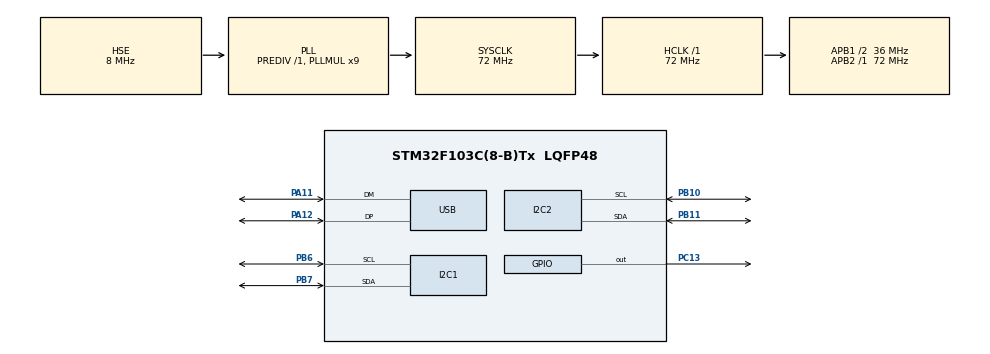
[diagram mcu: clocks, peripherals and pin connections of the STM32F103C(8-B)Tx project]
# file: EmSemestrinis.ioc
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Mcu.Family=STM32F1
Mcu.Name=STM32F103C(8-B)Tx
Mcu.Package=LQFP48
Mcu.UserConstants=MS_1,2;MS_100,200;PSC,36000
NVIC.PriorityGroup=NVIC_PRIORITYGROUP_4
NVIC.TIM2_IRQn=true\:0\:0\:false\:false\:true\:true\:true\:true
NVIC.USB_LP_CAN1_RX0_IRQn=true\:0\:0\:false\:false\:true\:false\:true\:true
PA11.Mode=Device
PA11.Signal=USB_DM
PA12.Mode=Device
PA12.Signal=USB_DP
PA13.Mode=Serial_Wire
PA13.Signal=SYS_JTMS-SWDIO
PA14.Mode=Serial_Wire
PA14.Signal=SYS_JTCK-SWCLK
PB10.Mode=I2C
PB10.Signal=I2C2_SCL
PB11.Mode=I2C
PB11.Signal=I2C2_SDA
PB6.Mode=I2C
PB6.Signal=I2C1_SCL
PB7.Mode=I2C
PB7.Signal=I2C1_SDA
PC13-TAMPER-RTC.Signal=GPIO_Output
PD0-OSC_IN.Mode=HSE-External-Oscillator
PD0-OSC_IN.Signal=RCC_OSC_IN
PD1-OSC_OUT.Mode=HSE-External-Oscillator
PD1-OSC_OUT.Signal=RCC_OSC_OUT
ProjectManager.HeapSize=0x200
ProjectManager.StackSize=0x400
ProjectManager.TargetToolchain=Makefile
RCC.AHBFreq_Value=72000000
RCC.APB1CLKDivider=RCC_HCLK_DIV2
RCC.APB1Freq_Value=36000000
RCC.APB1TimFreq_Value=72000000
RCC.APB2Freq_Value=72000000
RCC.APB2TimFreq_Value=72000000
RCC.HCLKFreq_Value=72000000
RCC.PLLMUL=RCC_PLL_MUL9
RCC.PLLSourceVirtual=RCC_PLLSOURCE_HSE
RCC.SYSCLKFreq_VALUE=72000000
RCC.SYSCLKSource=RCC_SYSCLKSOURCE_PLLCLK
RCC.USBFreq_Value=48000000
RCC.USBPrescaler=RCC_USBCLKSOURCE_PLL_DIV1_5
TIM2.Period=MS_100*2
TIM2.Prescaler=36000
USB_DEVICE.CLASS_NAME_FS=CDC
USB_DEVICE.VirtualMode=Cdc
USB_DEVICE.VirtualModeFS=Cdc_FS
VP_TIM2_VS_ClockSourceINT.Mode=Internal
VP_USB_DEVICE_VS_USB_DEVICE_CDC_FS.Mode=CDC_FS
board=custom

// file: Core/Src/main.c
/* USER CODE BEGIN Header */
/**
  ******************************************************************************
  * @file           : main.c
  * @brief          : Main program body
  ******************************************************************************
  * @attention
  *
  * Copyright (c) 2026 STMicroelectronics.
  * All rights reserved.
  *
  * This software is licensed under terms that can be found in the LICENSE file
  * in the root directory of this software component.
  * If no LICENSE file comes with this software, it is provided AS-IS.
  *
  ******************************************************************************
  */
/* USER CODE END Header */
#include "main.h"
#include "stm32f1xx_hal.h"
#include "usb_device.h"

/* USER CODE BEGIN Includes */
#include "device_config.h"
#include "Statechart.h"
#include "BMP180.h"
#include <stdint.h>
#include <stdbool.h>
#include <stdio.h>
#ifdef USE_USB
#include "usbd_cdc_if.h"
#endif
#ifdef USE_LCD
#include "i2c-lcd.h"
#endif
/* USER CODE END Includes */

I2C_HandleTypeDef hi2c1;
I2C_HandleTypeDef hi2c2;

TIM_HandleTypeDef htim2;

/* USER CODE BEGIN PV */
Statechart sc_handle;
static volatile bool tim2_it = false;
#ifdef USE_USB
static volatile bool usb_rx_new_data = false;
volatile uint8_t usb_rx_buff[1024];
volatile uint32_t usb_rx_len = 0;
uint8_t usb_tx_buff[1024];
uint32_t usb_tx_len = 0;
float usb_p_sum = 0;
#endif /* USE_USB */

#ifdef USE_LCD
char lcd_buff[100];
float lcd_p_sum = 0;
#endif /* USE_LCD */
/* USER CODE END PV */

void SystemClock_Config(void);
static void MX_GPIO_Init(void);
static void MX_I2C2_Init(void);
static void MX_TIM2_Init(void);
static void MX_I2C1_Init(void);

int main(void)
{

  /* MCU Configuration--------------------------------------------------------*/

  /* Reset of all peripherals, Initializes the Flash interface and the Systick. */
  HAL_Init();

  /* Configure the system clock */
  SystemClock_Config();

  /* Initialize all configured peripherals */
  MX_GPIO_Init();
  MX_I2C2_Init();
  MX_USB_DEVICE_Init();
  MX_TIM2_Init();
  MX_I2C1_Init();
  /* USER CODE BEGIN 2 */
  HAL_Delay(10);
  BMP180_Start();
  lcd_init();
  HAL_TIM_Base_Start_IT(&htim2);
  /* USER CODE END 2 */

  /* Infinite loop */
  /* USER CODE BEGIN WHILE */
  statechart_init(&sc_handle); // initialize state machine
  config_init();
  statechart_enter(&sc_handle); // run state machine
  while (1)
  {
    if(tim2_it) {
      tim2_it = false;
      statechart_raise_ev_timer_it(&sc_handle);
    }
    #ifdef USE_USB
    /* Check for new data in USB RX buffer */
    if(usb_rx_new_data && usb_rx_len > 0) {
      usb_rx_new_data = false;
      usb_rx_buff[usb_rx_len < 1024 ? usb_rx_len : 1023]='\0';
      status_t ret;
      /* Picking how to service the command */
      if(strncmp((char *)usb_rx_buff, "CONF_",5) == 0) {
        ret = execute_config_command((char *)usb_rx_buff);
      } else if(strncmp((char *)usb_rx_buff, "SAVE_CONFIG",11) == 0){
        HAL_GPIO_TogglePin(GPIOC, GPIO_PIN_13);
        ret = save_config();
      } else {
        ret = ERR_INV_COMMAND;
      }
      /* Sending error string in case of error */
      if(ret != STATUS_OK) {
          usb_tx_len = get_error_str(ret, (char *)usb_tx_buff);
          CDC_Transmit_FS(usb_tx_buff, usb_tx_len);
      }
    }
    #endif /* USE_USB */
    /* USER CODE END WHILE */

    /* USER CODE BEGIN 3 */
  }
  statechart_exit(&sc_handle);
  /* USER CODE END 3 */
}

void SystemClock_Config(void)
{
  RCC_OscInitTypeDef RCC_OscInitStruct = {0};
  RCC_ClkInitTypeDef RCC_ClkInitStruct = {0};
  RCC_PeriphCLKInitTypeDef PeriphClkInit = {0};

  /** Initializes the RCC Oscillators according to the specified parameters
  * in the RCC_OscInitTypeDef structure.
  */
  RCC_OscInitStruct.OscillatorType = RCC_OSCILLATORTYPE_HSE;
  RCC_OscInitStruct.HSEState = RCC_HSE_ON;
  RCC_OscInitStruct.HSEPredivValue = RCC_HSE_PREDIV_DIV1;
  RCC_OscInitStruct.HSIState = RCC_HSI_ON;
  RCC_OscInitStruct.PLL.PLLState = RCC_PLL_ON;
  RCC_OscInitStruct.PLL.PLLSource = RCC_PLLSOURCE_HSE;
  RCC_OscInitStruct.PLL.PLLMUL = RCC_PLL_MUL9;
  if (HAL_RCC_OscConfig(&RCC_OscInitStruct) != HAL_OK)
  {
    Error_Handler();
  }

  /** Initializes the CPU, AHB and APB buses clocks
  */
  RCC_ClkInitStruct.ClockType = RCC_CLOCKTYPE_HCLK|RCC_CLOCKTYPE_SYSCLK
                              |RCC_CLOCKTYPE_PCLK1|RCC_CLOCKTYPE_PCLK2;
  RCC_ClkInitStruct.SYSCLKSource = RCC_SYSCLKSOURCE_PLLCLK;
  RCC_ClkInitStruct.AHBCLKDivider = RCC_SYSCLK_DIV1;
  RCC_ClkInitStruct.APB1CLKDivider = RCC_HCLK_DIV2;
  RCC_ClkInitStruct.APB2CLKDivider = RCC_HCLK_DIV1;

  if (HAL_RCC_ClockConfig(&RCC_ClkInitStruct, FLASH_LATENCY_2) != HAL_OK)
  {
    Error_Handler();
  }
  PeriphClkInit.PeriphClockSelection = RCC_PERIPHCLK_USB;
  PeriphClkInit.UsbClockSelection = RCC_USBCLKSOURCE_PLL_DIV1_5;
  if (HAL_RCCEx_PeriphCLKConfig(&PeriphClkInit) != HAL_OK)
  {
    Error_Handler();
  }
}

static void MX_I2C1_Init(void)
{

  hi2c1.Instance = I2C1;
  hi2c1.Init.ClockSpeed = 100000;
  hi2c1.Init.DutyCycle = I2C_DUTYCYCLE_2;
  hi2c1.Init.OwnAddress1 = 0;
  hi2c1.Init.AddressingMode = I2C_ADDRESSINGMODE_7BIT;
  hi2c1.Init.DualAddressMode = I2C_DUALADDRESS_DISABLE;
  hi2c1.Init.OwnAddress2 = 0;
  hi2c1.Init.GeneralCallMode = I2C_GENERALCALL_DISABLE;
  hi2c1.Init.NoStretchMode = I2C_NOSTRETCH_DISABLE;
  if (HAL_I2C_Init(&hi2c1) != HAL_OK)
  {
    Error_Handler();
  }

}

static void MX_I2C2_Init(void)
{

  hi2c2.Instance = I2C2;
  hi2c2.Init.ClockSpeed = 100000;
  hi2c2.Init.DutyCycle = I2C_DUTYCYCLE_2;
  hi2c2.Init.OwnAddress1 = 0;
  hi2c2.Init.AddressingMode = I2C_ADDRESSINGMODE_7BIT;
  hi2c2.Init.DualAddressMode = I2C_DUALADDRESS_DISABLE;
  hi2c2.Init.OwnAddress2 = 0;
  hi2c2.Init.GeneralCallMode = I2C_GENERALCALL_DISABLE;
  hi2c2.Init.NoStretchMode = I2C_NOSTRETCH_DISABLE;
  if (HAL_I2C_Init(&hi2c2) != HAL_OK)
  {
    Error_Handler();
  }

}

static void MX_TIM2_Init(void)
{

  TIM_ClockConfigTypeDef sClockSourceConfig = {0};
  TIM_MasterConfigTypeDef sMasterConfig = {0};

  htim2.Instance = TIM2;
  htim2.Init.Prescaler = 36000;
  htim2.Init.CounterMode = TIM_COUNTERMODE_UP;
  htim2.Init.Period = MS_100*2;
  htim2.Init.ClockDivision = TIM_CLOCKDIVISION_DIV1;
  htim2.Init.AutoReloadPreload = TIM_AUTORELOAD_PRELOAD_DISABLE;
  if (HAL_TIM_Base_Init(&htim2) != HAL_OK)
  {
    Error_Handler();
  }
  sClockSourceConfig.ClockSource = TIM_CLOCKSOURCE_INTERNAL;
  if (HAL_TIM_ConfigClockSource(&htim2, &sClockSourceConfig) != HAL_OK)
  {
    Error_Handler();
  }
  sMasterConfig.MasterOutputTrigger = TIM_TRGO_RESET;
  sMasterConfig.MasterSlaveMode = TIM_MASTERSLAVEMODE_DISABLE;
  if (HAL_TIMEx_MasterConfigSynchronization(&htim2, &sMasterConfig) != HAL_OK)
  {
    Error_Handler();
  }

}

static void MX_GPIO_Init(void)
{
  GPIO_InitTypeDef GPIO_InitStruct = {0};

  /* GPIO Ports Clock Enable */
  __HAL_RCC_GPIOC_CLK_ENABLE();
  __HAL_RCC_GPIOD_CLK_ENABLE();
  __HAL_RCC_GPIOB_CLK_ENABLE();
  __HAL_RCC_GPIOA_CLK_ENABLE();

  /*Configure GPIO pin Output Level */
  HAL_GPIO_WritePin(GPIOC, GPIO_PIN_13, GPIO_PIN_RESET);

  /*Configure GPIO pin : PC13 */
  GPIO_InitStruct.Pin = GPIO_PIN_13;
  GPIO_InitStruct.Mode = GPIO_MODE_OUTPUT_PP;
  GPIO_InitStruct.Pull = GPIO_NOPULL;
  GPIO_InitStruct.Speed = GPIO_SPEED_FREQ_LOW;
  HAL_GPIO_Init(GPIOC, &GPIO_InitStruct);

}

/* USER CODE BEGIN 4 */
void HAL_TIM_PeriodElapsedCallback(TIM_HandleTypeDef *htim) {
  if(htim->Instance == TIM2) {
    tim2_it = true;
  }
}

#ifdef USE_USB
void usb_rx_callback(uint8_t *buf, uint32_t len) {
  for(int i = 0; i < len; i++) {
    usb_rx_buff[i] = buf[i];
  }
  usb_rx_len = len;
  usb_rx_new_data = true;
}
#endif /* USE_USB */

void statechart_get_pressure_data( Statechart* handle) {
  uint32_t oversampling;
  if(get_config_param(CONF_MEAS_OSS, &oversampling) != STATUS_OK) {
    oversampling = 0;
  }
  float pressure = BMP180_GetPress(oversampling);
  #ifdef USE_USB
  usb_p_sum += pressure;
  #endif
  #ifdef USE_LCD
  lcd_p_sum += pressure;
  #endif
}
void statechart_send_pressure_data_disp( Statechart* handle) {
  #ifdef USE_LCD
  uint32_t num_of_samples;
  get_config_param(CONF_DISPLAY_MEAS_NUM, &num_of_samples);
  uint32_t pressure = (lcd_p_sum/num_of_samples + 0.5f);
  uint32_t p_whole = pressure/1000;
  uint32_t p_frac = pressure%1000;
  lcd_p_sum = 0;
  sniprintf(lcd_buff, 100, "P=%3lu.%03lu kPa", p_whole, p_frac);
  lcd_put_cur(0, 0);
  lcd_send_string(lcd_buff);
  HAL_GPIO_TogglePin(GPIOC, GPIO_PIN_13);
  #endif /* USE_LCD */
}
void statechart_send_pressure_data_usb( Statechart* handle) {
  #ifdef USE_USB
  uint32_t num_of_samples;
  get_config_param(CONF_USB_MEAS_NUM, &num_of_samples);
  uint32_t pressure = (usb_p_sum/num_of_samples + 0.5f);
  uint32_t p_whole = pressure/1000;
  uint32_t p_frac = pressure%1000;
  usb_p_sum = 0;
  usb_tx_len = snprintf((char *)usb_tx_buff, 1024, "P=%3lu.%03lu kPa\r\n", p_whole, p_frac);
  CDC_Transmit_FS(usb_tx_buff, usb_tx_len);
  #endif /* USE_USB */
}
/* USER CODE END 4 */

void Error_Handler(void)
{
  __disable_irq();
  while (1)
  {
  }
}
